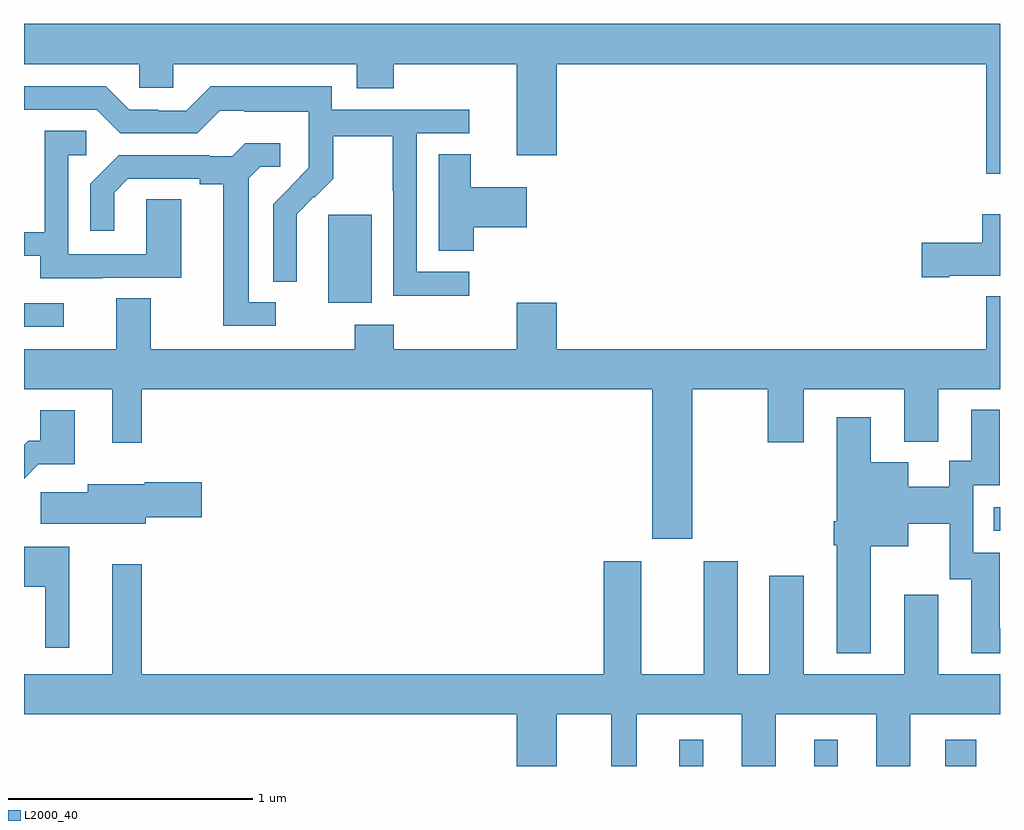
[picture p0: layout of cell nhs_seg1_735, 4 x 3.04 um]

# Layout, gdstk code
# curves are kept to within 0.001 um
import gdstk
lib = gdstk.Library(unit=1e-6, precision=1e-09)
def R(c, l, rs):  # rectangles x0, y0, x1, y1
    for r in rs: c.add(gdstk.rectangle(r[:2], r[2:], *l))
def P(c, l, *ps):  # polygons
    for p in ps: c.add(gdstk.Polygon(p, *l))
L2000_40 = (2000, 40)

nhs_seg1_735 = lib.new_cell('nhs_seg1_735')
R(nhs_seg1_735, L2000_40, [(153.686,538.199,153.784,538.306), (154.238,538.199,154.336,538.306), (154.775,538.199,154.903,538.306), (154.975,539.163,155,539.259), (151,540,151.162,540.096), (152.246,540.098,152.425,540.459)])
P(nhs_seg1_735, L2000_40, [(155,541.24),(151,541.24),(151,541.076),(151.473,541.076),(151.473,540.978),(151.611,540.978),(151.611,541.076),(152.363,541.076),(152.363,540.977),(152.516,540.977),(152.516,541.076),(153.02,541.076),(153.02,540.702),(153.184,540.702),(153.184,541.076),(154.944,541.076),(154.944,540.627),(155,540.627)],
  [(152.824,540.225),(152.61,540.225),(152.61,540.792),(152.824,540.792),(152.824,540.888),(152.262,540.888),(152.262,540.985),(151.765,540.985),(151.665,540.885),(151.55,540.885),(151.55,540.888),(151.431,540.888),(151.335,540.984),(151,540.984),(151,540.888),(151.299,540.888),(151.395,540.792),(151.71,540.792),(151.803,540.885),(151.903,540.885),(151.903,540.881),(152.166,540.881),(152.166,540.747),(152.168,540.747),(152.168,540.65),(152.022,540.502),(152.022,540.184),(152.118,540.184),(152.117,540.461),(152.187,540.531),(152.19,540.528),(152.267,540.605),(152.267,540.78),(152.512,540.78),(152.512,540.556),(152.514,540.556),(152.514,540.127),(152.824,540.127)],
  [(151.321,540.201),(151.645,540.201),(151.645,540.521),(151.5,540.521),(151.5,540.297),(151.182,540.297),(151.182,540.702),(151.255,540.702),(151.255,540.803),(151.086,540.803),(151.086,540.387),(151,540.387),(151,540.291),(151.067,540.291),(151.067,540.197),(151.321,540.197)],
  [(152.032,540.099),(151.921,540.099),(151.921,540.607),(151.968,540.654),(152.05,540.654),(152.05,540.751),(151.906,540.751),(151.854,540.699),(151.76,540.699),(151.76,540.702),(151.388,540.702),(151.272,540.586),(151.272,540.393),(151.369,540.393),(151.369,540.549),(151.426,540.606),(151.721,540.606),(151.721,540.584),(151.817,540.584),(151.817,540.003),(152.032,540.003)],
  [(152.843,540.406),(153.061,540.406),(153.061,540.571),(152.83,540.571),(152.83,540.707),(152.699,540.707),(152.699,540.31),(152.843,540.31)],
  [(154.792,540.209),(155,540.209),(155,540.46),(154.928,540.46),(154.928,540.344),(154.68,540.344),(154.68,540.202),(154.792,540.202)],
  [(153.739,539.744),(154.048,539.744),(154.048,539.526),(154.195,539.526),(154.195,539.744),(154.607,539.744),(154.607,539.528),(154.747,539.528),(154.747,539.744),(155,539.744),(155,540.124),(154.944,540.124),(154.944,539.908),(153.184,539.908),(153.184,540.097),(153.02,540.097),(153.02,539.908),(152.516,539.908),(152.516,540.007),(152.356,540.007),(152.356,539.908),(151.519,539.908),(151.519,540.116),(151.379,540.116),(151.379,539.908),(151,539.908),(151,539.744),(151.361,539.744),(151.361,539.523),(151.483,539.523),(151.483,539.744),(153.575,539.744),(153.575,539.13),(153.739,539.13)],
  [(154.471,539.099),(154.624,539.099),(154.624,539.192),(154.794,539.192),(154.794,538.965),(154.883,538.965),(154.883,538.662),(155,538.662),(155,538.764),(154.999,538.764),(154.999,539.073),(154.89,539.073),(154.89,539.349),(154.999,539.349),(154.999,539.659),(154.883,539.659),(154.883,539.45),(154.793,539.45),(154.793,539.344),(154.624,539.344),(154.624,539.443),(154.471,539.443),(154.471,539.629),(154.331,539.629),(154.331,539.203),(154.319,539.203),(154.319,539.103),(154.331,539.103),(154.331,538.661),(154.471,538.661)],
  [(151.058,539.435),(151.207,539.435),(151.207,539.656),(151.067,539.656),(151.067,539.533),(151.018,539.533),(151,539.515),(151,539.377)],
  [(151.498,539.219),(151.729,539.219),(151.729,539.361),(151.494,539.361),(151.494,539.353),(151.262,539.353),(151.262,539.321),(151.068,539.321),(151.068,539.192),(151.498,539.192)],
  [(151.186,539.098),(151,539.098),(151,538.934),(151.088,538.934),(151.088,538.683),(151.186,538.683)],
  [(153.184,538.412),(153.407,538.412),(153.407,538.199),(153.511,538.199),(153.511,538.412),(153.941,538.412),(153.941,538.199),(154.081,538.199),(154.081,538.412),(154.493,538.412),(154.493,538.199),(154.633,538.199),(154.633,538.412),(155,538.412),(155,538.576),(154.747,538.576),(154.747,538.9),(154.607,538.9),(154.607,538.576),(154.195,538.576),(154.195,538.978),(154.055,538.978),(154.055,538.576),(153.925,538.576),(153.925,539.038),(153.785,539.038),(153.785,538.576),(153.529,538.576),(153.529,539.038),(153.377,539.038),(153.377,538.576),(151.483,538.576),(151.483,539.026),(151.361,539.026),(151.361,538.576),(151,538.576),(151,538.412),(153.02,538.412),(153.02,538.199),(153.184,538.199)])

lib.write_gds('nhs_seg1_735.gds')
